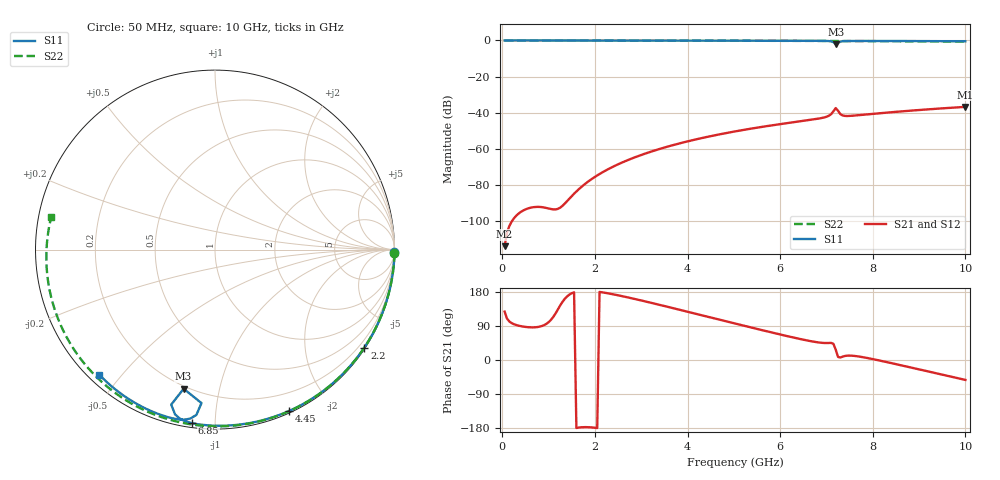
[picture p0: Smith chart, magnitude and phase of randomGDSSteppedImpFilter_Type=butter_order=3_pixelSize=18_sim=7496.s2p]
! freq	dB(S11)	phase(S11)	dB(S12)	phase(S12)
!  dB(S21)	phase(S21)	dB(S22)	phase(S22)
!S-par simulation data
#  GHz  S  DB  R 50
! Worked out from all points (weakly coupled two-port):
!   200 points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, 50 MHz to 10 GHz, reference 50 ohm
!   highest |S21| = -36.79 dB at 10 GHz (marker M1); lowest = -113.9 dB at 50 MHz (marker M2)
!   lowest |S11| = -2.0 dB at 7.2 GHz (marker M3), VSWR 8.74, Z = 9.3 - j39.1 ohm
!   |S11| at or under -10 dB: nowhere
!   |S22| runs from -0.6 to 0.0 dB; largest |S21 - S12| = 0
!   S11 on the Smith chart (normalised r, x): 50 MHz: open; 2.2 GHz: 0.03, -3.35; 4.45 GHz: 0.02, -1.56; 6.85 GHz: 0.02, -0.88; 10 GHz: 0.03, -0.44
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0.05  -0.00 -0.8  -113.94 127.6  -113.94 127.6  -0.00 -1.1
0.85  -0.01 -13.0  -92.30 89.5  -92.30 89.5  -0.02 -17.8
1.75  -0.03 -26.6  -80.22 -177.2  -80.22 -177.2  -0.05 -36.3
2.2  -0.04 -33.2  -72.48 177.7  -72.48 177.7  -0.06 -45.3
2.75  -0.05 -41.3  -65.85 164.1  -65.85 164.1  -0.07 -56.2
3.4  -0.07 -50.6  -60.07 145.4  -60.07 145.4  -0.09 -68.8
4.45  -0.09 -65.2  -53.27 113.7  -53.27 113.7  -0.13 -88.4
5.05  -0.11 -73.3  -50.26 95.5  -50.26 95.5  -0.15 -99.3
5.85  -0.14 -83.9  -46.91 71.7  -46.91 71.7  -0.20 -113.5
6.7  -0.19 -95.3  -43.82 48.8  -43.82 48.8  -0.25 -128.5
6.85  -0.22 -97.6  -43.20 46.0  -43.20 46.0  -0.26 -131.2
7.05  -0.35 -101.9  -41.72 44.9  -41.72 44.9  -0.28 -134.7
7.1  -0.50 -103.6  -40.84 45.1  -40.84 45.1  -0.29 -135.6
7.15  -0.94 -105.8  -39.25 42.7  -39.25 42.7  -0.29 -136.5
7.2  -2.00 -102.7  -37.46 27.2  -37.46 27.2  -0.29 -137.4
7.25  -1.33 -95.0  -38.94 8.0  -38.94 8.0  -0.30 -138.3
7.3  -0.66 -96.4  -40.80 6.6  -40.80 6.6  -0.30 -139.2
7.4  -0.35 -99.7  -41.80 10.7  -41.80 10.7  -0.31 -140.9
7.7  -0.27 -105.0  -41.38 9.2  -41.38 9.2  -0.34 -146.3
8.35  -0.30 -113.4  -39.86 -6.8  -39.86 -6.8  -0.41 -158.3
9.2  -0.37 -123.5  -38.14 -30.3  -38.14 -30.3  -0.51 -174.6
10  -0.45 -132.8  -36.79 -52.5  -36.79 -52.5  -0.63 168.7
